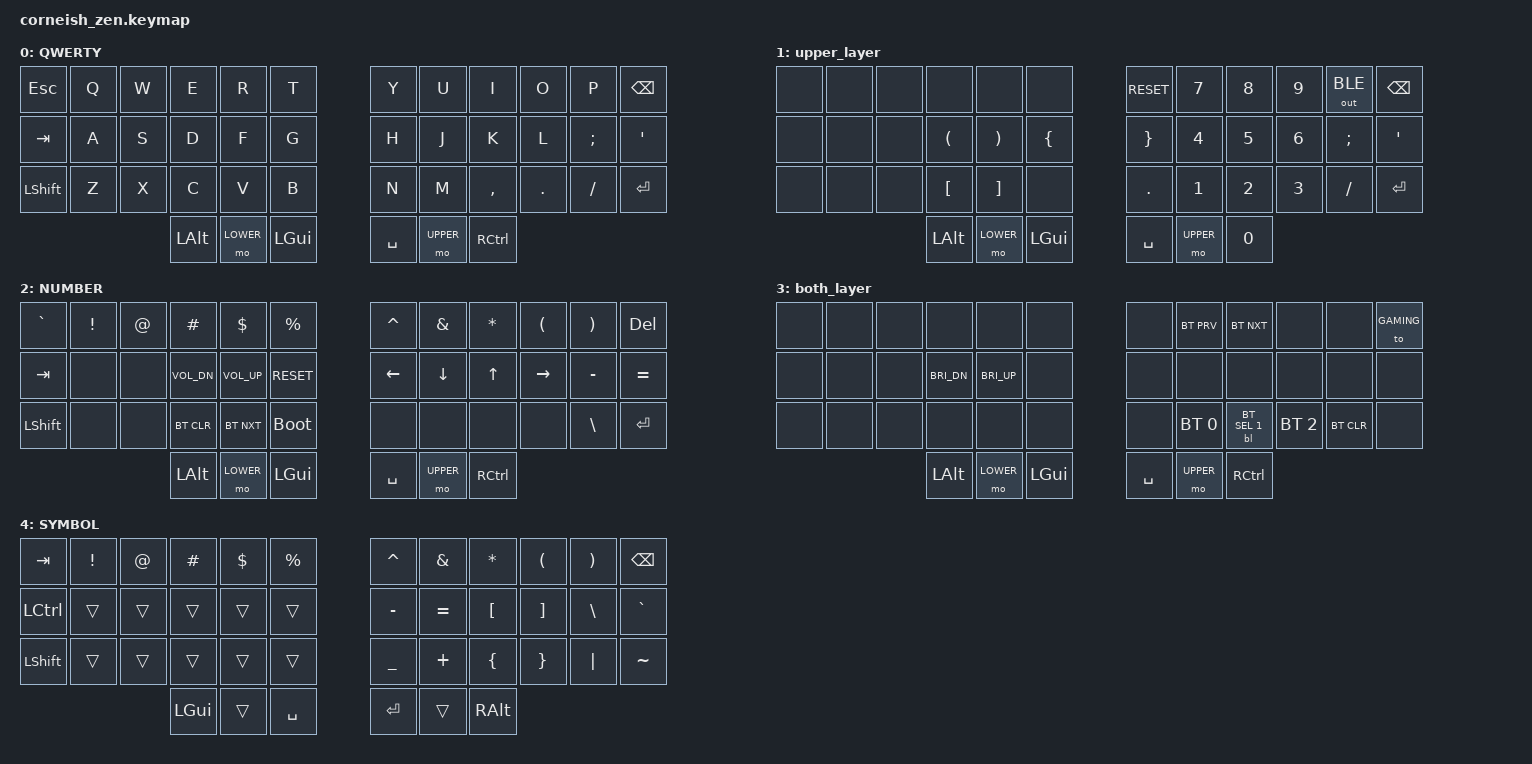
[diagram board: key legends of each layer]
/*
*
* Copyright (c) 2021 Darryl deHaan
* SPDX-License-Identifier: MIT
*
*/

#include <behaviors.dtsi>
#include <dt-bindings/zmk/keys.h>
#include <dt-bindings/zmk/bt.h>

#define DEFAULT 0
#define UPPER 1
#define LOWER 2
#define BOTH 3
#define GAMING 4

/ {
    chosen {
        zmk,physical-layout = &foostan_corne_6col_layout;
        // zmk,physical-layout = &foostan_corne_5col_layout;
    };
};

/ {

    conditional_layers {
        compatible = "zmk,conditional-layers";
        try_layer {
            if-layers = <1 2>;
            then-layer = <3>;
        };
    };

    keymap {
        compatible = "zmk,keymap";

        default_layer {
            display-name = "QWERTY";
// --------------------------------------------------------------------------------
// |  TAB |  Q  |  W  |  E  |  R  |  T  |   |  Y  |  U   |  I  |  O  |  P  | BSPC |
// | CTRL |  A  |  S  |  D  |  F  |  G  |   |  H  |  J   |  K  |  L  |  ;  |  '   |
// | SHFT |  Z  |  X  |  C  |  V  |  B  |   |  N  |  M   |  ,  |  .  |  /  | ESC  |
//                    | GUI | LWR | SPC |   | ENT | RSE  | ALT |
            bindings = <
    &kp ESC    &kp Q    &kp W      &kp E    &kp R     &kp T                                                 &kp Y     &kp U     &kp I     &kp O    &kp P     &kp BSPC
    &kp TAB    &kp A    &kp S      &kp D    &kp F     &kp G                                                 &kp H     &kp J     &kp K     &kp L    &kp SEMI  &kp SQT
    &kp LSHIFT &kp Z    &kp X      &kp C    &kp V     &kp B                                                 &kp N     &kp M     &kp COMMA &kp DOT  &kp FSLH  &kp RET
                                   &kp LALT &mo LOWER &kp LGUI                                              &kp SPACE &mo UPPER &kp RCTRL
            >;

        };

        upper_layer {
// --------------------------------------------------------------------------------------------------------------------------------------------------------------------
// |         |         |         |         |         |         |                                          |  RESET  |    7    |    8    |    9    |         |   BACK  |
// |         |         |         |    (    |    )    |    {    |                                          |    }    |    4    |    5    |    6    |    ;    |    '    |
// |         |         |         |    [    |    ]    |         |                                          |    .    |    1    |    2    |    3    |    /    |  RETURN |
//           |         |         |   ALT   |  LOWER  |   CMD   |                                          |  SPACE  |  UPPER  |    0    |         |         |
            bindings = <
    &none      &none    &none      &none    &none     &none                                                 &kp C_RESET &kp N7    &kp N8    &kp N9   &out OUT_BLE  &kp BSPC
    &none      &none    &none      &kp LPAR &kp RPAR  &kp LBRC                                              &kp RBRC    &kp N4    &kp N5    &kp N6   &kp SEMI  &kp SQT
    &none      &none    &none      &kp LBKT &kp RBKT  &none                                                 &kp DOT     &kp N1    &kp N2    &kp N3   &kp FSLH  &kp RET
                                   &kp LALT &mo LOWER &kp LGUI                                              &kp SPACE   &mo UPPER &kp N0
            >;

        };


        lower_layer {
            display-name = "NUMBER";
// -----------------------------------------------------------------------------------------
// |  TAB |  1  |  2  |  3  |  4  |  5  |   |  6  |  7  |  8  |  9  |  0  | BSPC |
// | BTCLR| BT1 | BT2 | BT3 | BT4 | BT5 |   | LFT | DWN |  UP | RGT |     |      |
// | SHFT |     |     |     |     |     |   |     |     |     |     |     |      |
//                    | GUI |     | SPC |   | ENT |     | ALT |
            bindings = <
    &kp GRAVE  &kp EXCL   &kp AT     &kp HASH     &kp DLLR     &kp PRCNT                                     &kp CARET &kp AMPS   &kp STAR  &kp LPAR  &kp RPAR  &kp DEL
    &kp TAB    &none      &none      &kp K_VOL_DN &kp K_VOL_UP &kp C_RESET                                   &kp LEFT  &kp DOWN   &kp UP    &kp RIGHT &kp MINUS &kp EQUAL
    &kp LSHIFT &none      &none      &bt BT_CLR   &bt BT_NXT   &bootloader                                   &none     &none      &none     &none     &kp BSLH  &kp RET
                                     &kp LALT     &mo LOWER    &kp LGUI                                      &kp SPACE &mo UPPER  &kp RCTRL
            >;

        };

        both_layer {
// --------------------------------------------------------------------------------------------------------------------------------------------------------------------
// |         |         |         |         |         |         |                                          |    Y    |  BT_PRV |  BT_NXT |         |         |         |
// |         |         |         |  BRI_DN |  BRI_UP |         |                                          |    H    |         |         |         |         |         |
// |         |         |         |         |         |         |                                          |    N    |   BT0   |   BT1   |   BT2   |         |         |
//           |         |         |   ALT   |  LOWER  |   CMD   |                                          |  SPACE  |  UPPER  |   CTRL  |         |         |
            bindings = <
    &none       &none      &none   &none       &none     &none                                               &none     &bt BT_PRV   &bt BT_NXT   &none        &none  &to GAMING
    &none       &none      &none   &kp C_BRI_DN &kp C_BRI_UP &none                                           &none     &none        &none        &none        &none  &none
    &none       &none      &none   &none       &none     &none                                               &none     &bt BT_SEL 0 &bl BT_SEL 1 &bt BT_SEL 2 &bt BT_CLR  &none
                                   &kp LALT    &mo LOWER &kp LGUI                                            &kp SPACE &mo UPPER    &kp RCTRL
            >;
        };

        raise_layer {
            display-name = "SYMBOL";
// -----------------------------------------------------------------------------------------
// |  TAB |  !  |  @  |  #  |  $  |  %  |   |  ^  |  &  |  *  |  (  |  )  | BSPC |
// | CTRL |     |     |     |     |     |   |  -  |  =  |  [  |  ]  |  \  |  `   |
// | SHFT |     |     |     |     |     |   |  _  |  +  |  {  |  }  | "|" |  ~   |
//                    | GUI |     | SPC |   | ENT |     | ALT |
            bindings = <
&kp  TAB  &kp EXCL &kp AT &kp HASH &kp DLLR &kp PRCNT   &kp CARET &kp AMPS  &kp ASTRK &kp LPAR &kp RPAR &kp BSPC
&kp LCTRL &trans   &trans &trans   &trans   &trans      &kp MINUS &kp EQUAL &kp LBKT  &kp RBKT &kp BSLH &kp GRAVE
&kp LSHFT &trans   &trans &trans   &trans   &trans      &kp UNDER &kp PLUS  &kp LBRC  &kp RBRC &kp PIPE &kp TILDE
                          &kp LGUI &trans   &kp SPACE   &kp RET   &trans    &kp RALT
            >;

        };
    };
};
